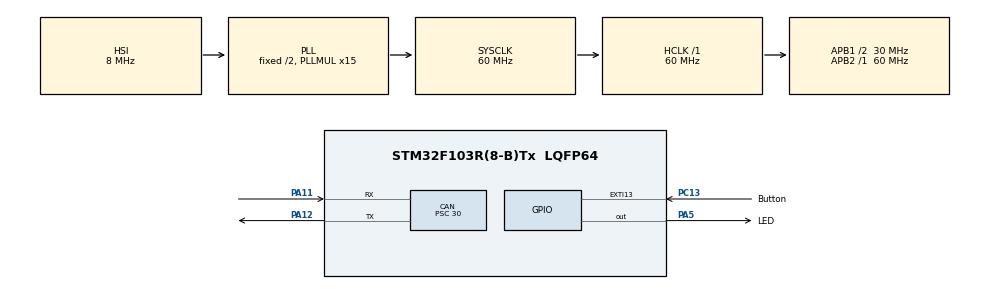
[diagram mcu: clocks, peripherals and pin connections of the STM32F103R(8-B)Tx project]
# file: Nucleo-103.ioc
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CAN.BS1=CAN_BS1_7TQ
CAN.BS2=CAN_BS2_2TQ
CAN.CalculateTimeBit=10000
CAN.CalculateTimeQuantum=1000.0000000000001
CAN.Prescaler=30
CAN.SJW=CAN_SJW_1TQ
Mcu.Family=STM32F1
Mcu.Name=STM32F103R(8-B)Tx
Mcu.Package=LQFP64
NVIC.CAN1_RX1_IRQn=true\:0\:0\:false\:false\:true\:true
NVIC.CAN1_SCE_IRQn=true\:0\:0\:false\:false\:true\:true
NVIC.EXTI15_10_IRQn=true\:0\:0\:false\:false\:true\:true
NVIC.PriorityGroup=NVIC_PRIORITYGROUP_4
NVIC.TIM3_IRQn=true\:0\:0\:false\:false\:true\:true
NVIC.USB_HP_CAN1_TX_IRQn=true\:0\:0\:false\:false\:true\:true
NVIC.USB_LP_CAN1_RX0_IRQn=true\:0\:0\:false\:false\:true\:true
PA11.Mode=Master
PA11.Signal=CAN_RX
PA12.Mode=Master
PA12.Signal=CAN_TX
PA13.Mode=JTAG_4_pins
PA13.Signal=SYS_JTMS-SWDIO
PA14.Mode=JTAG_4_pins
PA14.Signal=SYS_JTCK-SWCLK
PA15.Mode=JTAG_4_pins
PA15.Signal=SYS_JTDI
PA5.GPIO_Label=LED
PA5.Signal=GPIO_Output
PB3.Mode=JTAG_4_pins
PB3.Signal=SYS_JTDO-TRACESWO
PC13-TAMPER-RTC.GPIO_Label=Button
PC13-TAMPER-RTC.Signal=GPXTI13
ProjectManager.HeapSize=0x200
ProjectManager.StackSize=0x400
ProjectManager.TargetToolchain=SW4STM32
RCC.AHBFreq_Value=60000000
RCC.APB1CLKDivider=RCC_HCLK_DIV2
RCC.APB1Freq_Value=30000000
RCC.APB1TimFreq_Value=60000000
RCC.APB2Freq_Value=60000000
RCC.APB2TimFreq_Value=60000000
RCC.HCLKFreq_Value=60000000
RCC.PLLMUL=RCC_PLL_MUL15
RCC.SYSCLKFreq_VALUE=60000000
RCC.SYSCLKSource=RCC_SYSCLKSOURCE_PLLCLK
RCC.USBFreq_Value=60000000
TIM3.Period=4999
TIM3.Prescaler=11999
VP_TIM3_VS_ClockSourceITR.Mode=TriggerSource_ITR2
board=Nucleo-103

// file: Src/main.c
/**
  ******************************************************************************
  * File Name          : main.c
  * Description        : Main program body
  ******************************************************************************
  ** This notice applies to any and all portions of this file
  * that are not between comment pairs USER CODE BEGIN and
  * USER CODE END. Other portions of this file, whether
  * inserted by the user or by software development tools
  * are owned by their respective copyright owners.
  *
  * COPYRIGHT(c) 2018 STMicroelectronics
  *
  * Redistribution and use in source and binary forms, with or without modification,
  * are permitted provided that the following conditions are met:
  *   1. Redistributions of source code must retain the above copyright notice,
  *      this list of conditions and the following disclaimer.
  *   2. Redistributions in binary form must reproduce the above copyright notice,
  *      this list of conditions and the following disclaimer in the documentation
  *      and/or other materials provided with the distribution.
  *   3. Neither the name of STMicroelectronics nor the names of its contributors
  *      may be used to endorse or promote products derived from this software
  *      without specific prior written permission.
  *
  * THIS SOFTWARE IS PROVIDED BY THE COPYRIGHT HOLDERS AND CONTRIBUTORS "AS IS"
  * AND ANY EXPRESS OR IMPLIED WARRANTIES, INCLUDING, BUT NOT LIMITED TO, THE
  * IMPLIED WARRANTIES OF MERCHANTABILITY AND FITNESS FOR A PARTICULAR PURPOSE ARE
  * DISCLAIMED. IN NO EVENT SHALL THE COPYRIGHT HOLDER OR CONTRIBUTORS BE LIABLE
  * FOR ANY DIRECT, INDIRECT, INCIDENTAL, SPECIAL, EXEMPLARY, OR CONSEQUENTIAL
  * DAMAGES (INCLUDING, BUT NOT LIMITED TO, PROCUREMENT OF SUBSTITUTE GOODS OR
  * SERVICES; LOSS OF USE, DATA, OR PROFITS; OR BUSINESS INTERRUPTION) HOWEVER
  * CAUSED AND ON ANY THEORY OF LIABILITY, WHETHER IN CONTRACT, STRICT LIABILITY,
  * OR TORT (INCLUDING NEGLIGENCE OR OTHERWISE) ARISING IN ANY WAY OUT OF THE USE
  * OF THIS SOFTWARE, EVEN IF ADVISED OF THE POSSIBILITY OF SUCH DAMAGE.
  *
  ******************************************************************************
  */

#include "main.h"
#include "stm32f1xx_hal.h"

/* USER CODE BEGIN Includes */
#include "authentication.h"
/* USER CODE END Includes */

CAN_HandleTypeDef hcan;

TIM_HandleTypeDef htim3;

/* USER CODE BEGIN PV */
/* Private variables ---------------------------------------------------------*/

CanRxMsgTypeDef rmsg;
CanTxMsgTypeDef tmsg;

/* USER CODE END PV */

void SystemClock_Config(void);
static void MX_GPIO_Init(void);
static void MX_CAN_Init(void);
static void MX_TIM3_Init(void);

/* USER CODE BEGIN PFP */
/* Private function prototypes -----------------------------------------------*/
void CAN_filter_init(void);
void RxIntEnable(CAN_HandleTypeDef *CanHandle);
void CanSend(uint16_t Id[2],uint8_t Msg[8]);
/* USER CODE END PFP */

/* USER CODE BEGIN 0 */

uint8_t Canmsg[8];
uint16_t Canid[2];
uint8_t Sendflag;
uint8_t counter;
uint8_t Doorstate;
uint8_t Laststate;
uint8_t Errorreporter;
uint8_t RFdis;
extern uint16_t NFCID;
extern uint16_t DOORID;
extern uint8_t stoper;

/* USER CODE END 0 */

int main(void)
{

  /* MCU Configuration----------------------------------------------------------*/

  /* Reset of all peripherals, Initializes the Flash interface and the Systick. */
  HAL_Init();

  /* Configure the system clock */
  SystemClock_Config();

  /* Initialize all configured peripherals */
  MX_GPIO_Init();
  MX_CAN_Init();
  MX_TIM3_Init();

  /* USER CODE BEGIN 2 */

  CAN_filter_init();
  HAL_TIM_Base_Start_IT(&htim3);
  HAL_CAN_Receive_IT(&hcan,CAN_FIFO0);

  Sendflag = 0;
  counter = 0;
  Doorstate = 0;
  Laststate = Doorstate;

  /* USER CODE END 2 */

  /* Infinite loop */
  /* USER CODE BEGIN WHILE */
  while (1)
  {
	  if (Sendflag == 1 && Laststate != Doorstate){
		  if (Doorstate == 1){
			  //open door confirm
			  Canid[0] = NFCID;
			  Canmsg[0] = 0x80;
			  Canmsg[1] = 0x01;
			  Canmsg[2] = 0x55;
			  Canmsg[3] = 0x55;
			  CanSend(Canid,Canmsg);
		  }
		  if (Doorstate == 0){
			  //close door confirm
			  Canid[0] = NFCID;
			  Canmsg[0] = 0x80;
			  Canmsg[1] = 0x00;
			  Canmsg[2] = 0x55;
			  Canmsg[3] = 0x55;
			  CanSend(Canid,Canmsg);
		  }
		  Sendflag = 0;
		  Laststate = Doorstate;
	  }
	  if (Errorreporter == 1){
			  //report error
			  Canid[0] = DOORID;
			  for(int i=0; i<4; i++){
				  Canmsg[i] = 0xFF;
			  }
			  CanSend(Canid, Canmsg);
			  Errorreporter = 0;
	  }
	  if (RFdis == 1){
		  CanSend(Canid, Canmsg);
		  RFdis = 0;
	  }
  /* USER CODE END WHILE */

  }

}

/** System Clock Configuration
*/
void SystemClock_Config(void)
{

  RCC_OscInitTypeDef RCC_OscInitStruct;
  RCC_ClkInitTypeDef RCC_ClkInitStruct;

    /**Initializes the CPU, AHB and APB busses clocks
    */
  RCC_OscInitStruct.OscillatorType = RCC_OSCILLATORTYPE_HSI;
  RCC_OscInitStruct.HSIState = RCC_HSI_ON;
  RCC_OscInitStruct.HSICalibrationValue = 16;
  RCC_OscInitStruct.PLL.PLLState = RCC_PLL_ON;
  RCC_OscInitStruct.PLL.PLLSource = RCC_PLLSOURCE_HSI_DIV2;
  RCC_OscInitStruct.PLL.PLLMUL = RCC_PLL_MUL15;
  if (HAL_RCC_OscConfig(&RCC_OscInitStruct) != HAL_OK)
  {
    _Error_Handler(__FILE__, __LINE__);
  }

    /**Initializes the CPU, AHB and APB busses clocks
    */
  RCC_ClkInitStruct.ClockType = RCC_CLOCKTYPE_HCLK|RCC_CLOCKTYPE_SYSCLK
                              |RCC_CLOCKTYPE_PCLK1|RCC_CLOCKTYPE_PCLK2;
  RCC_ClkInitStruct.SYSCLKSource = RCC_SYSCLKSOURCE_PLLCLK;
  RCC_ClkInitStruct.AHBCLKDivider = RCC_SYSCLK_DIV1;
  RCC_ClkInitStruct.APB1CLKDivider = RCC_HCLK_DIV2;
  RCC_ClkInitStruct.APB2CLKDivider = RCC_HCLK_DIV1;

  if (HAL_RCC_ClockConfig(&RCC_ClkInitStruct, FLASH_LATENCY_2) != HAL_OK)
  {
    _Error_Handler(__FILE__, __LINE__);
  }

    /**Configure the Systick interrupt time
    */
  HAL_SYSTICK_Config(HAL_RCC_GetHCLKFreq()/1000);

    /**Configure the Systick
    */
  HAL_SYSTICK_CLKSourceConfig(SYSTICK_CLKSOURCE_HCLK);

  /* SysTick_IRQn interrupt configuration */
  HAL_NVIC_SetPriority(SysTick_IRQn, 0, 0);
}

/* CAN init function */
static void MX_CAN_Init(void)
{

  hcan.Instance = CAN1;
  hcan.Init.Prescaler = 30;
  hcan.Init.Mode = CAN_MODE_NORMAL;
  hcan.Init.SJW = CAN_SJW_1TQ;
  hcan.Init.BS1 = CAN_BS1_7TQ;
  hcan.Init.BS2 = CAN_BS2_2TQ;
  hcan.Init.TTCM = DISABLE;
  hcan.Init.ABOM = DISABLE;
  hcan.Init.AWUM = DISABLE;
  hcan.Init.NART = DISABLE;
  hcan.Init.RFLM = DISABLE;
  hcan.Init.TXFP = DISABLE;
  if (HAL_CAN_Init(&hcan) != HAL_OK)
  {
    _Error_Handler(__FILE__, __LINE__);
  }

}

/* TIM3 init function */
static void MX_TIM3_Init(void)
{

  TIM_SlaveConfigTypeDef sSlaveConfig;
  TIM_MasterConfigTypeDef sMasterConfig;

  htim3.Instance = TIM3;
  htim3.Init.Prescaler = 11999;
  htim3.Init.CounterMode = TIM_COUNTERMODE_UP;
  htim3.Init.Period = 4999;
  htim3.Init.ClockDivision = TIM_CLOCKDIVISION_DIV1;
  htim3.Init.AutoReloadPreload = TIM_AUTORELOAD_PRELOAD_DISABLE;
  if (HAL_TIM_Base_Init(&htim3) != HAL_OK)
  {
    _Error_Handler(__FILE__, __LINE__);
  }

  sSlaveConfig.SlaveMode = TIM_SLAVEMODE_DISABLE;
  sSlaveConfig.InputTrigger = TIM_TS_ITR2;
  if (HAL_TIM_SlaveConfigSynchronization(&htim3, &sSlaveConfig) != HAL_OK)
  {
    _Error_Handler(__FILE__, __LINE__);
  }

  sMasterConfig.MasterOutputTrigger = TIM_TRGO_RESET;
  sMasterConfig.MasterSlaveMode = TIM_MASTERSLAVEMODE_DISABLE;
  if (HAL_TIMEx_MasterConfigSynchronization(&htim3, &sMasterConfig) != HAL_OK)
  {
    _Error_Handler(__FILE__, __LINE__);
  }

}

/** Configure pins as
        * Analog
        * Input
        * Output
        * EVENT_OUT
        * EXTI
*/
static void MX_GPIO_Init(void)
{

  GPIO_InitTypeDef GPIO_InitStruct;

  /* GPIO Ports Clock Enable */
  __HAL_RCC_GPIOC_CLK_ENABLE();
  __HAL_RCC_GPIOA_CLK_ENABLE();
  __HAL_RCC_GPIOB_CLK_ENABLE();

  /*Configure GPIO pin Output Level */
  HAL_GPIO_WritePin(LED_GPIO_Port, LED_Pin, GPIO_PIN_RESET);

  /*Configure GPIO pin : Button_Pin */
  GPIO_InitStruct.Pin = Button_Pin;
  GPIO_InitStruct.Mode = GPIO_MODE_IT_RISING;
  GPIO_InitStruct.Pull = GPIO_NOPULL;
  HAL_GPIO_Init(Button_GPIO_Port, &GPIO_InitStruct);

  /*Configure GPIO pin : LED_Pin */
  GPIO_InitStruct.Pin = LED_Pin;
  GPIO_InitStruct.Mode = GPIO_MODE_OUTPUT_PP;
  GPIO_InitStruct.Speed = GPIO_SPEED_FREQ_LOW;
  HAL_GPIO_Init(LED_GPIO_Port, &GPIO_InitStruct);

  /* EXTI interrupt init*/
  HAL_NVIC_SetPriority(EXTI15_10_IRQn, 0, 0);
  HAL_NVIC_EnableIRQ(EXTI15_10_IRQn);

}

/* USER CODE BEGIN 4 */
void CAN_filter_init(void)
{
	static CanTxMsgTypeDef TxMsg;
	static CanRxMsgTypeDef RxMsg;

	hcan.pRxMsg = &RxMsg;
	hcan.pTxMsg = &TxMsg;

	CAN_FilterConfTypeDef  sFilterConfig;
	/*##-2- Configure the CAN Filter ###########################################*/
	sFilterConfig.FilterNumber = 0;
	sFilterConfig.FilterMode = CAN_FILTERMODE_IDMASK;
	sFilterConfig.FilterScale = CAN_FILTERSCALE_32BIT;
	sFilterConfig.FilterIdHigh = 0x100 << 5;
	sFilterConfig.FilterIdLow = 0x0000;
	sFilterConfig.FilterMaskIdHigh = 0x700 << 5;
	sFilterConfig.FilterMaskIdLow = 0x0000;
	sFilterConfig.FilterFIFOAssignment = CAN_FILTER_FIFO0;
	sFilterConfig.FilterActivation = ENABLE;
	sFilterConfig.BankNumber = 14;

	HAL_CAN_ConfigFilter(&hcan, &sFilterConfig);
}

void HAL_GPIO_EXTI_Callback(uint16_t GPIO_Pin)
{
	if(GPIO_Pin == Button_Pin){
		RFdis = 1;
		if(Canmsg[0] != 0x88){
			Canid[0] = NFCID;
			Canmsg[0] = 0x88;
			Canmsg[1] = 0x55;
			Canmsg[2] = 0x55;
			Canmsg[3] = 0x55;
		}
	}
}

void HAL_TIM_PeriodElapsedCallback(TIM_HandleTypeDef *htim){
	if(htim->Instance == TIM3){
		if(counter >= stoper){
			Doorstate = 0;
			Sendflag = 1;
			HAL_GPIO_WritePin(LED_GPIO_Port,LED_Pin,GPIO_PIN_RESET);
			Canmsg[1] = 0x00;
			counter = 0;
		}
		if(Doorstate == 1){
			counter++;
		}
	}
}

void RxIntEnable(CAN_HandleTypeDef *CanHandle) {
	if(CanHandle->State == HAL_CAN_STATE_BUSY_TX)
	  CanHandle->State = HAL_CAN_STATE_BUSY_TX_RX0;
	else {
	  CanHandle->State = HAL_CAN_STATE_BUSY_RX0;

		/* Set CAN error code to none */
		CanHandle->ErrorCode = HAL_CAN_ERROR_NONE;

		/* Enable Error warning Interrupt */
		__HAL_CAN_ENABLE_IT(CanHandle, CAN_IT_EWG);

		/* Enable Error passive Interrupt */
		__HAL_CAN_ENABLE_IT(CanHandle, CAN_IT_EPV);

		/* Enable Bus-off Interrupt */
		__HAL_CAN_ENABLE_IT(CanHandle, CAN_IT_BOF);

		/* Enable Last error code Interrupt */
		__HAL_CAN_ENABLE_IT(CanHandle, CAN_IT_LEC);

		/* Enable Error Interrupt */
		__HAL_CAN_ENABLE_IT(CanHandle, CAN_IT_ERR);
	  }

	  // Enable FIFO 0 message pending Interrupt
	  __HAL_CAN_ENABLE_IT(CanHandle, CAN_IT_FMP0);
}

void HAL_CAN_RxCpltCallback(CAN_HandleTypeDef *CanHandle){
	if(CanHandle->pRxMsg->StdId == DOORID && CanHandle->pRxMsg->DLC == 4){
		Canid[0] = CanHandle->pRxMsg->StdId;
		Canmsg[0] = CanHandle->pRxMsg->Data[0];
		Canmsg[1] = CanHandle->pRxMsg->Data[1];
		Canmsg[2] = CanHandle->pRxMsg->Data[2];
		Canmsg[3] = CanHandle->pRxMsg->Data[3];
	}
	if(Canmsg[0] == 0x80){
		if(Canmsg[1] == 0x01){
			HAL_GPIO_WritePin(LED_GPIO_Port,LED_Pin,GPIO_PIN_SET);
			Doorstate = 1;
			Sendflag = 1;
			}
		else if(Canmsg[1] == 0x00){
			HAL_GPIO_WritePin(LED_GPIO_Port,LED_Pin,GPIO_PIN_RESET);
			Doorstate = 0;
			Sendflag = 1;
		}
		else {
			Errorreporter = 1;
		}
	}

	RxIntEnable(CanHandle);
}

void CanSend (uint16_t ID[2], uint8_t Msg[8]){
	  tmsg.StdId = ID[0];
	  tmsg.IDE = CAN_ID_STD;
	  tmsg.RTR = CAN_RTR_DATA;
	  tmsg.DLC = 4;
	  tmsg.Data[0] = Msg[0];
	  tmsg.Data[1] = Msg[1];
	  tmsg.Data[2] = Msg[2];
	  tmsg.Data[3] = Msg[3];
	  hcan.pTxMsg = &tmsg;

	  HAL_CAN_Transmit(&hcan, 10);
}

/* USER CODE END 4 */

void _Error_Handler(char * file, int line)
{
  while(1)
  {
  }
}

/************************ (C) COPYRIGHT STMicroelectronics *****END OF FILE****/
